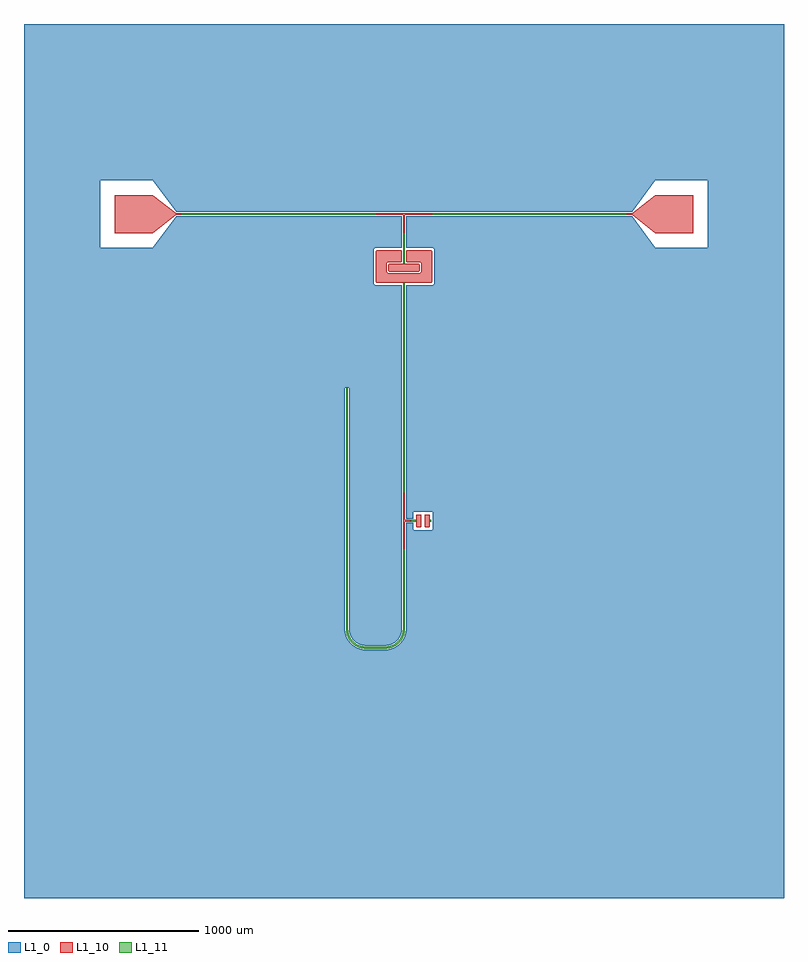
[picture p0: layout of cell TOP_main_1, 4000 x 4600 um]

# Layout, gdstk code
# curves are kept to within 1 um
import gdstk
lib = gdstk.Library(unit=1e-6, precision=1e-09)
def R(c, l, rs):  # rectangles x0, y0, x1, y1
    for r in rs: c.add(gdstk.rectangle(r[:2], r[2:], *l))
def P(c, l, *ps):  # polygons
    for p in ps: c.add(gdstk.Polygon(p, *l))
L1_0 = (1, 0)
L1_10 = (1, 10)
L1_11 = (1, 11)

ground_main_1 = lib.new_cell('ground_main_1')
P(ground_main_1, L1_0, [(2000,-2203.979),(9.029,-2203.979),(4.253,-2221.183),(-4.746,-2239.961),(-15.162,-2254.462),(-27.788,-2267.088),(-42.289,-2277.504),(-61.067,-2286.502),(-81.204,-2291.801),(-99,-2293.25),(-206.955,-2293.088),(-224.647,-2290.678),(-244.467,-2284.297),(-267.569,-2270.82),(-286.735,-2252.166),(-300.833,-2229.438),(-309.029,-2203.979),(-2000,-2203.979),(-2000,-3600),(2000,-3600)],
  [(-96.342,-2271.21),(-80.53,-2269.29),(-67.795,-2265.531),(-53.474,-2258.559),(-42.661,-2250.851),(-33.131,-2241.605),(-23.691,-2228.775),(-17.699,-2216.926),(-13.481,-2203.979),(-286.519,-2203.979),(-278.92,-2224.145),(-266.869,-2241.605),(-248.78,-2257.149),(-229.706,-2266.436),(-216.862,-2269.808),(-203.658,-2271.21)],
  [(-1322,176.5),(-1200,11),(1200,11),(1322,176.5),(1598.5,176.5),(1598.5,-176.5),(1322,-176.5),(1200,-11),(11,-11),(11,-178),(148.676,-178.058),(154.167,-180.022),(158.587,-185.408),(159.5,-363),(156.776,-370.613),(148.676,-374.942),(11,-375),(11,-1604),(49.5,-1604),(49.5,-1568.5),(50.919,-1566.586),(149.265,-1566.652),(150.5,-1568.5),(150.5,-1661.5),(148.5,-1663.5),(50.919,-1663.414),(49.5,-1661.5),(49.5,-1626),(11,-1626),(11,-2183.25),(9.029,-2203.979),(2000,-2203.979),(2000,1000),(-2000,1000),(-2000,-2203.979),(-309.029,-2203.979),(-311,-2183.25),(-311,-915),(-289,-915),(-289,-2183.25),(-286.519,-2203.979),(-13.481,-2203.979),(-11,-2183.25),(-11,-375),(-147.5,-375),(-152.092,-374.087),(-156.776,-370.613),(-159.5,-363),(-159.5,-190),(-156.776,-182.387),(-148.676,-178.058),(-11,-178),(-11,-11),(-1200,-11),(-1322,-176.5),(-1598.5,-176.5),(-1598.5,176.5)])

top_main_1 = lib.new_cell('TOP_main_1')
P(top_main_1, L1_10, [(-1200,5),(-1322,100),(-1522,100),(-1522,-100),(-1322,-100),(-1200,-5),(-1170,-5),(-1170,5),(-1200,5)],
  [(1200,-5),(1322,-100),(1522,-100),(1522,100),(1322,100),(1200,5),(1170,5),(1170,-5),(1200,-5)],
  [(-5,-100),(-5,-5),(-150,-5),(-150,5),(150,5),(150,-5),(5,-5),(5,-100),(-5,-100)],
  [(82.5,-295),(80.157,-300.657),(74.5,-303),(-76.061,-302.846),(-80.157,-300.657),(-82.346,-296.561),(-82.346,-268.439),(-79.575,-263.816),(-74.5,-262),(76.061,-262.154),(80.157,-264.343),(82.346,-268.439)],
  [(11,-311),(-83.284,-310.961),(-88.157,-308.657),(-90.346,-304.561),(-90.461,-261.216),(-86.945,-255.348),(-82.5,-254),(-18.412,-253.971),(-12.465,-250.602),(-11.005,-246.098),(-11.005,-197.902),(-14.083,-191.699),(-19.098,-190),(-139.402,-190),(-145.801,-193.083),(-147.5,-198.098),(-147.5,-354.902),(-144.417,-361.301),(-139.402,-363),(11,-363)],
  [(139.598,-362.995),(145.011,-360.789),(147.495,-355.098),(147.5,-198.098),(146.035,-193.398),(139.402,-190),(19.098,-190),(14.398,-191.465),(11.005,-197.902),(11.005,-246.098),(12.465,-250.602),(18.412,-253.971),(82.5,-254),(86.945,-255.348),(90.461,-261.216),(90.5,-303),(88.157,-308.657),(83.284,-310.961),(11,-311),(11,-363)],
  [(5,-1465),(5,-1610),(35.5,-1610),(35.5,-1620),(5,-1620),(5,-1765),(-5,-1765),(-5,-1465),(5,-1465)],
  [(67.5,-1647.5),(65.5,-1645.5),(65.586,-1583.919),(67.304,-1582.51),(89.081,-1582.586),(90.5,-1584.5),(90.414,-1646.081),(88.696,-1647.49)],
  [(111.5,-1647.5),(109.5,-1645.5),(109.586,-1583.919),(111.304,-1582.51),(133.081,-1582.586),(134.5,-1584.5),(134.414,-1646.081),(132.696,-1647.49)])
R(top_main_1, L1_11, [(35.5,-1620,55.5,-1610), (55.5,-1620,65.501,-1610), (134.499,-1620,144.5,-1610), (-5,-1465,5,-415), (-5,-415,5,-362.999), (-5,-262.001,5,-150), (-5,-150,5,-100), (-1170,-5,-150,5), (150,-5,1170,5)])
P(top_main_1, L1_11, [(-96.134,-2287.21),(-76.257,-2284.733),(-54.615,-2277.303),(-37.408,-2267.049),(-20.636,-2251.623),(-34.493,-2251.623),(-49.652,-2263.255),(-69.433,-2272.479),(-82.677,-2275.822),(-99,-2277.25),(-214.624,-2276.257),(-227.96,-2273.301),(-240.726,-2268.443),(-252.654,-2261.786),(-265.507,-2251.623),(-279.364,-2251.623),(-267.115,-2263.529),(-253,-2273.316),(-237.466,-2280.647),(-220.938,-2285.321),(-203.866,-2287.21)],
  [(-267.468,-2249.718),(-279.536,-2234.904),(-287.312,-2220.481),(-293.058,-2202.258),(-294.96,-2185.984),(-295,-915),(-305,-915),(-304.961,-2186.115),(-301.076,-2211.549),(-291.067,-2235.25),(-279.364,-2251.623),(-265.507,-2251.623)],
  [(-20.573,-2251.552),(-10.4,-2237.712),(-2.645,-2222.386),(2.483,-2205.993),(4.842,-2188.979),(5,-1765),(-5,-1765),(-5.358,-2191.442),(-8.203,-2207.579),(-13.807,-2222.976),(-23.6,-2239.383),(-34.493,-2251.623)])
top_main_1.add(gdstk.Reference(ground_main_1, (0,0)))

lib.write_gds('TOP_main_1.gds')
